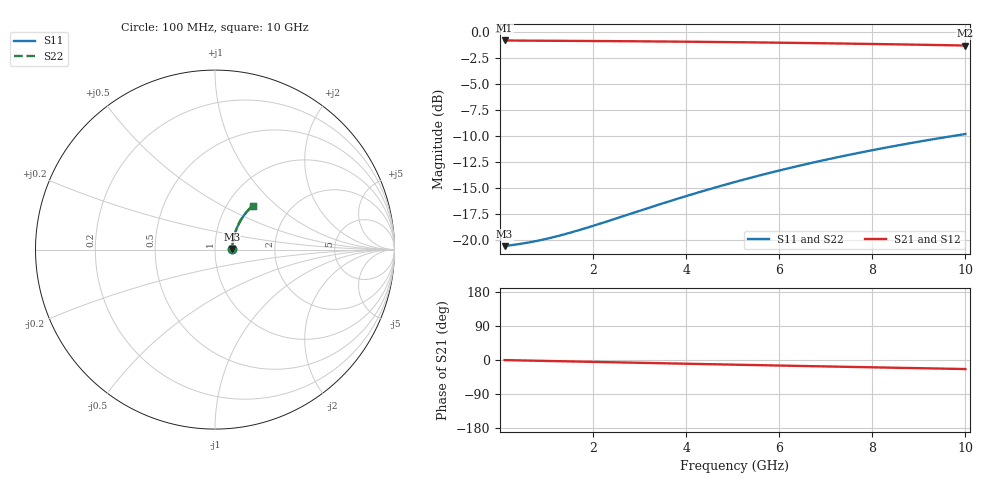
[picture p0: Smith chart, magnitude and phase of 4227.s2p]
# Hz S RI R 50.00
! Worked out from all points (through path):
!   100 points, 100 MHz to 10 GHz, reference 50 ohm
!   highest |S21| = -0.86 dB at 100 MHz (marker M1); lowest = -1.3 dB at 10 GHz (marker M2)
!   group delay of S21, straight-line fit = 6.64 ps
!   lowest |S11| = -20.6 dB at 100 MHz (marker M3), VSWR 1.21, Z = 60.3 + j0.354 ohm
!   |S11| at or under -10 dB: start of sweep to 9.737 GHz
!   |S22| runs from -20.6 to -9.8 dB; largest |S21 - S12| = 0
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1e8  0.0938 0.00291  0.9062 -0.00392  0.9062 -0.00392  0.0938 0.00291
5e8  0.0957 0.0145  0.9043 -0.0195  0.9043 -0.0195  0.0957 0.0145
7e8  0.0964 0.0202  0.9036 -0.0273  0.9036 -0.0273  0.0964 0.0202
9e8  0.0972 0.026  0.9028 -0.0351  0.9028 -0.0351  0.0972 0.026
1.1e9  0.098 0.0317  0.9019 -0.0428  0.9019 -0.0428  0.098 0.0317
1.3e9  0.0989 0.0374  0.901 -0.0506  0.901 -0.0506  0.0989 0.0374
1.5e9  0.0998 0.0431  0.9001 -0.0583  0.9001 -0.0583  0.0998 0.0431
1.8e9  0.1014 0.0516  0.8984 -0.0698  0.8984 -0.0698  0.1014 0.0516
2.3e9  0.1043 0.0656  0.8953 -0.0889  0.8953 -0.0889  0.1043 0.0656
3.4e9  0.1128 0.0959  0.8866 -0.1303  0.8866 -0.1303  0.1128 0.0959
3.9e9  0.1174 0.1093  0.8817 -0.1488  0.8817 -0.1488  0.1174 0.1093
4.3e9  0.1215 0.1198  0.8774 -0.1633  0.8774 -0.1633  0.1215 0.1198
4.7e9  0.126 0.1301  0.8728 -0.1777  0.8728 -0.1777  0.126 0.1301
5.1e9  0.1307 0.1403  0.8678 -0.1919  0.8678 -0.1919  0.1307 0.1403
5.5e9  0.1358 0.1502  0.8625 -0.2059  0.8625 -0.2059  0.1358 0.1502
5.9e9  0.1412 0.1599  0.8569 -0.2197  0.8569 -0.2197  0.1412 0.1599
6.7e9  0.1528 0.1787  0.8448 -0.2466  0.8448 -0.2466  0.1528 0.1787
7.5e9  0.1654 0.1964  0.8315 -0.2725  0.8315 -0.2725  0.1654 0.1964
7.9e9  0.1721 0.2049  0.8245 -0.2851  0.8245 -0.2851  0.1721 0.2049
8.4e9  0.1808 0.2151  0.8153 -0.3004  0.8153 -0.3004  0.1808 0.2151
9.2e9  0.1954 0.2305  0.8 -0.324  0.8 -0.324  0.1954 0.2305
1e10  0.2107 0.2448  0.7838 -0.3465  0.7838 -0.3465  0.2107 0.2448
